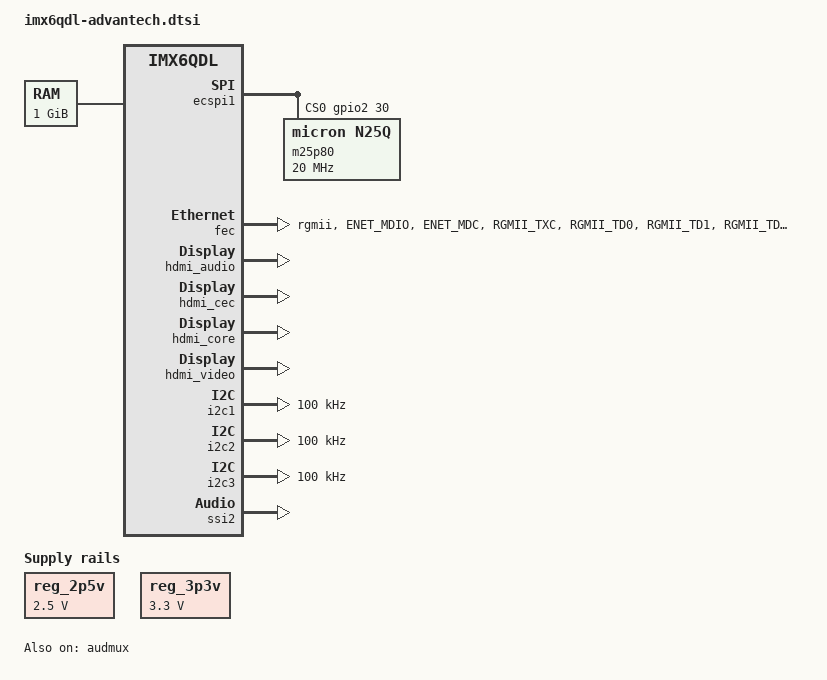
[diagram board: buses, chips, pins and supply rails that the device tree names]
/*
 * Copyright 2012 Freescale Semiconductor, Inc.
 * Copyright 2011 Linaro Ltd.
 *
 * The code contained herein is licensed under the GNU General Public
 * License. You may obtain a copy of the GNU General Public License
 * Version 2 or later at the following locations:
 *
 * http://www.opensource.org/licenses/gpl-license.html
 * http://www.gnu.org/copyleft/gpl.html
 */

/ {
	aliases {
		mxcfb0 = &mxcfb1;
		mxcfb1 = &mxcfb2;
		mxcfb2 = &mxcfb3;
		mxcfb3 = &mxcfb4;
	};

	memory {
		reg = <0x10000000 0x40000000>;
	};

	regulators {
		compatible = "simple-bus";

		reg_2p5v: 2p5v {
			compatible = "regulator-fixed";
			regulator-name = "2P5V";
			regulator-min-microvolt = <2500000>;
			regulator-max-microvolt = <2500000>;
			regulator-always-on;
		};

		reg_3p3v: 3p3v {
			compatible = "regulator-fixed";
			regulator-name = "3P3V";
			regulator-min-microvolt = <3300000>;
			regulator-max-microvolt = <3300000>;
			regulator-always-on;
		};
	};

	audio_sgtl5000: sound {
		compatible = "fsl,imx-audio-sgtl5000";
		model = "imx-audio-sgtl5000";
		ssi-controller = <&ssi2>;
		audio-routing =
			"MIC_IN", "Mic Jack",
			"Mic Jack", "Mic Bias",
			"Headphone Jack", "HP_OUT";
		mux-int-port = <2>;
		mux-ext-port = <3>;
	};

	audio_hdmi: sound-hdmi {
		compatible = "fsl,imx6q-audio-hdmi",
			     "fsl,imx-audio-hdmi";
		model = "imx-audio-hdmi";
		hdmi-controller = <&hdmi_audio>;
	};

	mxcfb1: fb@0 {
		compatible = "fsl,mxc_sdc_fb";
		disp_dev = "hdmi";
		interface_pix_fmt = "RGB24";
		mode_str ="1920x1080M@60";
		default_bpp = <16>;
		int_clk = <0>;
		late_init = <0>;
		status = "disabled";
	};

	mxcfb2: fb@1 {
		compatible = "fsl,mxc_sdc_fb";
		disp_dev = "lcd";
		interface_pix_fmt = "RGB24";
		mode_str ="1920x1080M@60";
		default_bpp = <16>;
		int_clk = <0>;
		late_init = <0>;
		status = "disabled";
	};

	mxcfb3: fb@2 {
		compatible = "fsl,mxc_sdc_fb";
		disp_dev = "ldb";
		interface_pix_fmt = "RGB24";
		mode_str ="800x480M@60";
		default_bpp = <16>;
		int_clk = <0>;
		late_init = <0>;
		status = "disabled";
	};

	mxcfb4: fb@3 {
		compatible = "fsl,mxc_sdc_fb";
		disp_dev = "ldb";
		interface_pix_fmt = "RGB24";
		mode_str ="800x480M@60";
		default_bpp = <16>;
		int_clk = <0>;
		late_init = <0>;
		status = "disabled";
	};

	lcd: lcd@0 {
		compatible = "fsl,lcd";
		ipu_id = <0>;
		disp_id = <0>;
		default_ifmt = "RGB565";
		pinctrl-names = "default";
		pinctrl-0 = <&pinctrl_ipu1_1>;
		status = "okay";
	};

	bkl: backlight {
		pinctrl-names = "default";
		pinctrl-0 = <&pinctrl_lvds_bkl_1 &pinctrl_lvds_vcc_1>;
		compatible = "pwm-backlight";
		brightness-levels = <0 4 8 16 32 64 128 255>;
		default-brightness-level = <7>;
		status = "disabled";
	};

	v4l2_capture_0: v4l2_cap_0 {
		compatible = "fsl,imx6q-v4l2-capture";
		ipu_id = <0>;
		csi_id = <0>;
		mclk_source = <0>;
		status = "disabled";
	};

	v4l2_capture_1: v4l2_cap_1 {
		compatible = "fsl,imx6q-v4l2-capture";
		ipu_id = <0>;
		csi_id = <1>;
		mclk_source = <0>;
		status = "disabled";
	};

	v4l2_output: v4l2_out {
		compatible = "fsl,mxc_v4l2_output";
		status = "okay";
	};
};

&audmux {
	pinctrl-names = "default";
	pinctrl-0 = <&pinctrl_audmux_2>;
	status = "okay";
};

&cpu0 {
	arm-supply = <&reg_arm>;
	soc-supply = <&reg_soc>;
	pu-supply = <&reg_pu>; /* use pu_dummy if VDDSOC share with VDDPU */
};

&ecspi1 {
	fsl,spi-num-chipselects = <1>;
	cs-gpios = <&gpio2 30 0>;
	pinctrl-names = "default";
	pinctrl-0 = <&pinctrl_ecspi1_cs_0 &pinctrl_ecspi1_1>;
	status = "okay";

	m25p80@0 {
		#address-cells = <1>;
		#size-cells = <1>;
		compatible = "micron,n25q";
		spi-max-frequency = <20000000>;
		reg = <0>;
	};
};

&fec {
	pinctrl-names = "default";
	pinctrl-0 = <&pinctrl_enet1_1>;
	phy-mode = "rgmii";
	status = "okay";
};

&gpc {
	fsl,ldo-bypass = <0>; /* use ldo-bypass, u-boot will check it and configure */
	fsl,wdog-reset = <1>; /* watchdog select of reset source */
	pu-supply = <&reg_pu>; /* ldo-bypass:use pu_dummy if VDDSOC share with VDDPU */
};

&gpu {
	pu-supply = <&reg_pu>; /* ldo-bypass:use pu_dummy if VDDSOC share with VDDPU */
};

&hdmi_audio {
	status = "okay";
};

&hdmi_cec {
	status = "okay";
};

&hdmi_core {
	ipu_id = <1>;
	disp_id = <1>;
	status = "okay";
};

&hdmi_video {
	fsl,phy_reg_vlev = <0x0294>;
	fsl,phy_reg_cksymtx = <0x800d>;
	status = "okay";
};

&i2c1 {
	clock-frequency = <100000>;
	pinctrl-names = "default";
	pinctrl-0 = <&pinctrl_i2c1_2>;
	status = "okay";
};

&i2c2 {
	clock-frequency = <100000>;
	pinctrl-names = "default";
	pinctrl-0 = <&pinctrl_i2c2_2>;
	status = "okay";
};

&i2c3 {
	clock-frequency = <100000>;
	pinctrl-names = "default";
	pinctrl-0 = <&pinctrl_i2c3_2>;
	status = "okay";
};

&iomuxc {

	enet1 {
		pinctrl_enet1_1: enet1grp-1 {
			fsl,pins = <
				MX6QDL_PAD_ENET_MDIO__ENET_MDIO       0x1b0b0
				MX6QDL_PAD_ENET_MDC__ENET_MDC         0x1b0b0
				MX6QDL_PAD_RGMII_TXC__RGMII_TXC       0x1b030
				MX6QDL_PAD_RGMII_TD0__RGMII_TD0       0x1b030
				MX6QDL_PAD_RGMII_TD1__RGMII_TD1       0x1b030
				MX6QDL_PAD_RGMII_TD2__RGMII_TD2       0x1b030
				MX6QDL_PAD_RGMII_TD3__RGMII_TD3       0x1b030
				MX6QDL_PAD_RGMII_TX_CTL__RGMII_TX_CTL 0x1b030
				MX6QDL_PAD_ENET_REF_CLK__ENET_TX_CLK  0x0A0B1
				MX6QDL_PAD_RGMII_RXC__RGMII_RXC       0x1b030
				MX6QDL_PAD_RGMII_RD0__RGMII_RD0       0x1b030
				MX6QDL_PAD_RGMII_RD1__RGMII_RD1       0x1b030
				MX6QDL_PAD_RGMII_RD2__RGMII_RD2       0x1b030
				MX6QDL_PAD_RGMII_RD3__RGMII_RD3       0x1b030
				MX6QDL_PAD_RGMII_RX_CTL__RGMII_RX_CTL 0x1b030
			>;
		};
	};

	hog {
		/* Common GPIO */
		pinctrl_hog_1: hoggrp-1 {
			fsl,pins = <
				MX6QDL_PAD_NANDF_D2__GPIO2_IO02 	0x80000000	/* SD2_CD */
				MX6QDL_PAD_NANDF_D3__GPIO2_IO03 	0x80000000	/* SD2_WP */
				MX6QDL_PAD_EIM_D30__GPIO3_IO30 		0x80000000	/* BORAD_ID0 */
				MX6QDL_PAD_EIM_D31__GPIO3_IO31 		0x80000000	/* BORAD_ID1 */
				MX6QDL_PAD_GPIO_0__CCM_CLKO1   		0x130b0     /* AUDIO CLK */
			>;
		};
	};

	lvds {
		pinctrl_lvds_bkl_1: lvds_bklgrp-1 {
			fsl,pins = <
				MX6QDL_PAD_KEY_COL0__GPIO4_IO06		0x170b0		/* LCD_BKLT_EN */
			>;
		};
		pinctrl_lvds_vcc_1: lvds_vccgrp-1 {
			fsl,pins = <
				MX6QDL_PAD_KEY_ROW0__GPIO4_IO07		0x170b0		/* LCD_VDD_EN */
			>;
		};
	};
};

&ldb {
	ipu_id = <1>;
	disp_id = <0>;
	ext_ref = <1>;
	mode = "sep0";
	sec_ipu_id = <0>;
	sec_disp_id = <1>;
	status = "disabled";
};

&mipi_csi {
	ipu_id = <0>;
	csi_id = <1>;
	v_channel = <0>;
	lanes = <2>;
	status = "disabled";
};

&ssi2 {
	fsl,mode = "i2s-slave";
	status = "okay";
};

&vpu {
	pu-supply = <&reg_pu>; /* ldo-bypass:use pu_dummy if VDDSOC share with VDDPU */
};
